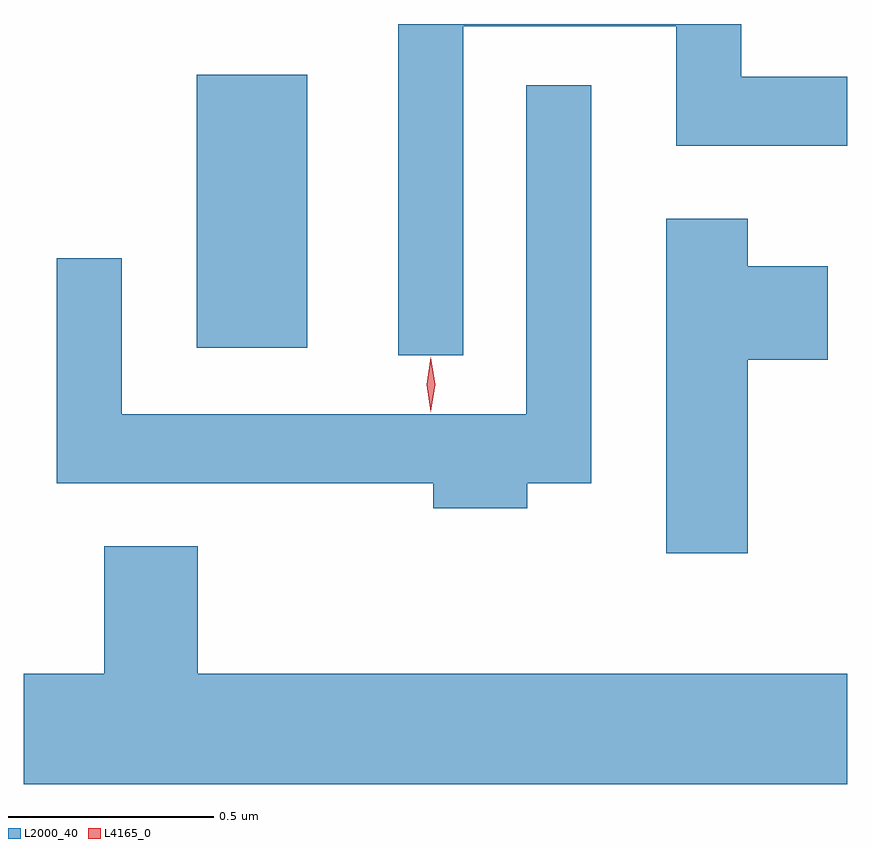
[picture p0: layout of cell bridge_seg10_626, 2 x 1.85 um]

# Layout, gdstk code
import gdstk
lib = gdstk.Library(unit=1e-6, precision=1e-09)
def R(c, l, rs):  # rectangles x0, y0, x1, y1
    for r in rs: c.add(gdstk.rectangle(r[:2], r[2:], *l))
def P(c, l, *ps):  # polygons
    for p in ps: c.add(gdstk.Polygon(p, *l))
L2000_40 = (2000, 40)
L4165_0 = (4165, 0)

bridge_seg10_626 = lib.new_cell('bridge_seg10_626')
R(bridge_seg10_626, L2000_40, [(820.956,2139.396,821.224,2140.059)])
P(bridge_seg10_626, L2000_40, [(821.604,2140.176),(822.121,2140.176),(822.121,2139.886),(822.536,2139.886),(822.536,2140.054),(822.279,2140.054),(822.279,2140.182),(821.446,2140.182),(821.446,2139.378),(821.604,2139.378)],
  [(821.759,2139.066),(821.914,2139.066),(821.914,2140.033),(821.756,2140.033),(821.756,2139.234),(820.774,2139.234),(820.774,2139.613),(820.616,2139.613),(820.616,2139.066),(821.531,2139.066),(821.531,2139.006),(821.759,2139.006)],
  [(822.294,2139.366),(822.489,2139.366),(822.489,2139.594),(822.294,2139.594),(822.294,2139.709),(822.096,2139.709),(822.096,2138.896),(822.294,2138.896)],
  [(822.536,2138.604),(820.959,2138.604),(820.959,2138.914),(820.731,2138.914),(820.731,2138.604),(820.536,2138.604),(820.536,2138.336),(822.536,2138.336)])
P(bridge_seg10_626, L4165_0, [(821.525,2139.239),(821.524,2139.24),(821.515,2139.306),(821.524,2139.372),(821.525,2139.373),(821.525,2139.372),(821.535,2139.306),(821.525,2139.24)])

lib.write_gds('bridge_seg10_626.gds')
